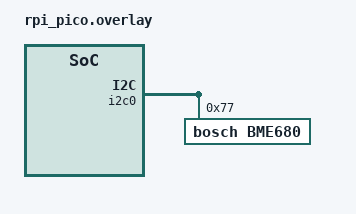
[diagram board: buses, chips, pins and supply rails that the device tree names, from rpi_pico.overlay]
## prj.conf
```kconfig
CONFIG_GPIO=y
CONFIG_I2C=y

CONFIG_NEWLIB_LIBC=y
CONFIG_NEWLIB_LIBC_FLOAT_PRINTF=y

CONFIG_SENSOR=y
CONFIG_BME680=y

CONFIG_DEBUG=y
```

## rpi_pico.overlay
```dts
// write your device tree here

&i2c0 {

    status = "okay";
    
    bme680@77 {
        compatible = "bosch,bme680";
        reg = <0x77>;  // Change to 0x76 if needed
        label = "BME680";
    };
};
```

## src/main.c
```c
#include <zephyr/kernel.h>
#include <stdio.h>
#include <zephyr/device.h>
#include <zephyr/devicetree.h>
#include <zephyr/drivers/gpio.h>
#include <zephyr/drivers/sensor.h>


#include <zephyr/sys/printk.h>

void main(void)
{
    const struct device *bme680 = DEVICE_DT_GET_ONE(bosch_bme680);

    if (!device_is_ready(bme680)) {
        printk("BME680 sensor not found!\n");
        return;
    }

    printk("BME680 sensor found!\n");
    
    struct sensor_value temp;
    
    while (1) {

        if (sensor_sample_fetch(bme680) < 0) {
            printk("Failed to fetch sample from BME680\n");
            continue;
        }

        if (sensor_channel_get(bme680, SENSOR_CHAN_AMBIENT_TEMP, &temp) < 0) {
            printk("Failed to get temperature data\n");
            continue;
        }

        printk("Temperature: %d.%06d°C\n", temp.val1, temp.val2);
        printf("Real temp: %f C\n", sensor_value_to_double(&temp));

        k_sleep(K_SECONDS(2));  // Read every 2 seconds
    }
}
```
